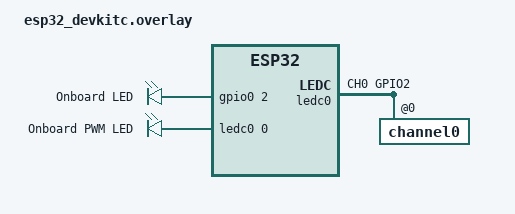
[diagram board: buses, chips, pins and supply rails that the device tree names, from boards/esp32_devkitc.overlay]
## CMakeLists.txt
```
cmake_minimum_required(VERSION 3.20.0)

list(APPEND ZEPHYR_EXTRA_MODULES ${CMAKE_CURRENT_SOURCE_DIR}/..)

find_package(Zephyr REQUIRED HINTS $ENV{ZEPHYR_BASE})
project(led_sensor_app)

target_sources(app PRIVATE src/main.c)
```

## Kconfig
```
config APP_HEARTBEAT_PERIOD_MS
	int "Heartbeat LED blink period (ms)"
	range 100 2000
	default 500
	help
	  Sleep duration in milliseconds between heartbeat LED toggles.

source "Kconfig.zephyr"
```

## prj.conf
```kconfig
CONFIG_GPIO=y
CONFIG_SENSOR=y
CONFIG_LED_SENSOR=y
CONFIG_SHELL=y
CONFIG_LOG=y
```

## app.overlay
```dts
/ {
	led_sensor: led_sensor {
		compatible = "custom,led-sensor";
		gpios = <&gpio0 2 GPIO_ACTIVE_HIGH>;
		status = "okay";
	};
};
```

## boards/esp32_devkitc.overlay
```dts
/ {
    leds {
        compatible = "gpio-leds";
        led0: led_0 {
            gpios = <&gpio0 2 GPIO_ACTIVE_HIGH>;
            label = "Onboard LED";
        };
    };

    pwmleds {
        compatible = "pwm-leds";
        pwm_led0: pwm_led_0 {
            label = "Onboard PWM LED";
            /* Channel 0, 20ms (50Hz), normal polarity */
            pwms = <&ledc0 0 20000000 PWM_POLARITY_NORMAL>;
        };
    };

    aliases {
        led0 = &led0;
        pwm-led0 = &pwm_led0;
    };
};

/* Enable the ESP32 LEDC (PWM) controller */
&ledc0 {
    status = "okay";
    pinctrl-0 = <&ledc0_default>;
    pinctrl-names = "default";
    #address-cells = <1>;
    #size-cells = <0>;

    channel0@0 {
        reg = <0>;
        timer = <0>;
    };
};

/* Link PWM Channel 0 to GPIO 2 */
&pinctrl {
    ledc0_default: ledc0_default {
        group1 {
            pinmux = <LEDC_CH0_GPIO2>;
            output-enable;
        };
    };
};
```

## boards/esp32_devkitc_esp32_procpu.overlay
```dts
/* SPDX-License-Identifier: Apache-2.0 */

/ {
	aliases {
		led0 = &led0;
	};

	  leds {
   		compatible = "gpio-leds";
		
   		led0: led_0 {
   			gpios = <&gpio0 2 GPIO_ACTIVE_LOW>;
        };
   	};
};
```

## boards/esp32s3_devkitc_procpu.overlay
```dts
/ {
    aliases {
        led0 = &led_0;
    };
    leds {
        compatible = "gpio-leds";
        led_0: led_0 {
            gpios = <&gpio0 2 GPIO_ACTIVE_HIGH>;
            label = "User LED";
        };
    };
};
```

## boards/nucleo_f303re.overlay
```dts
/ {
    pwmleds {
        compatible = "pwm-leds";
        pwm_led_pa5: pwm_led_pa5 {
            pwms = <&pwm2 1 PWM_MSEC(20) PWM_POLARITY_NORMAL>;
            label = "PWM_LED";
        };
    };

    aliases {
        pwm-led0 = &pwm_led_pa5;
    };    
};

&timers2 {
    status = "okay";
    pwm2: pwm {
        status = "okay";
        pinctrl-0 = <&tim2_ch1_pa5>;
        pinctrl-names = "default";
    };
};
```

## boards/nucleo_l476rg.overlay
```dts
/ {
    led_sensor_0: led_sensor {
        compatible = "iomico,led-sensor";
        gpios = <&gpioa 5 GPIO_ACTIVE_HIGH>;
        status = "okay";
    };
};
```

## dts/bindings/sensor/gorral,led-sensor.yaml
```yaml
description: Simple LED sensor used for Zephyr driver development homework

compatible: "gorral,led-sensor"

include: base.yaml

properties:
  led-gpios:
    type: phandle-array
    required: true
    description: GPIO connected to the LED controlled by this sensor driver.
```

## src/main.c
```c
#include <zephyr/kernel.h>
#include <zephyr/logging/log.h>

LOG_MODULE_REGISTER(sync_race, LOG_LEVEL_INF);

#define STACK_SIZE 1024
#define ITERATIONS 1000

static volatile int shared_counter = 0;

void worker_fn(void *p1, void *p2, void *p3)
{
	const char *name = (const char *)p1;

	for (int i = 0; i < ITERATIONS; i++) {
		int temp = shared_counter;
		k_busy_wait(1); /* Widens read-modify-write window */
		shared_counter = temp + 1;
	}

	LOG_INF("%s finished (current counter = %d)", name, shared_counter);
}

K_THREAD_DEFINE(thread_a, STACK_SIZE, worker_fn, "Thread A", NULL, NULL, 5, 0, 0);
K_THREAD_DEFINE(thread_b, STACK_SIZE, worker_fn, "Thread B", NULL, NULL, 5, 0, 0);

int main(void)
{
	k_thread_join(thread_a, K_FOREVER);
	k_thread_join(thread_b, K_FOREVER);

	LOG_INF("Expected: %d | Actual (UNPROTECTED): %d",
		ITERATIONS * 2, shared_counter);
	return 0;
}
```

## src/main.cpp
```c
#include <zephyr/drivers/gpio.h>
#include <zephyr/kernel.h>
#include <zephyr/logging/log.h>

#define SLEEP_TIME_MS 1000

/* The devicetree node identifier for the "led0" alias. */
#define LED_NODE DT_ALIAS(led0)

static const struct gpio_dt_spec led = GPIO_DT_SPEC_GET(LED_NODE, gpios);

LOG_MODULE_REGISTER(main, LOG_LEVEL_INF);

int main(void)
{
    printk("Hello World! %s\n", CONFIG_BOARD_TARGET);

    bool led_state = true;

    if (!gpio_is_ready_dt(&led)) return 0;

    if (gpio_pin_configure_dt(&led, GPIO_OUTPUT_ACTIVE) < 0) return 0;

    while (1) {
        if (gpio_pin_toggle_dt(&led) < 0) return 0;

        led_state = !led_state;
        LOG_INF("LED state: %s", led_state ? "ON" : "OFF");
        k_msleep(SLEEP_TIME_MS);
    }
    return 0;
}
```

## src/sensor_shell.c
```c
#include <zephyr/shell/shell.h>
#include <zephyr/drivers/sensor.h>
#include <zephyr/device.h>
#include <led_sensor/led_sensor.h>
#include <string.h>

static const struct device *get_led_sensor(void)
{
    return DEVICE_DT_GET_ANY(iomico_led_sensor);
}

/* --- fetch: enciende el LED --- */
static int cmd_sensor_fetch(const struct shell *sh, size_t argc, char **argv)
{
    const struct device *dev = get_led_sensor();

    if (!device_is_ready(dev)) {
        shell_error(sh, "Sensor no disponible");
        return -ENODEV;
    }

    int ret = sensor_sample_fetch(dev);
    if (ret) {
        shell_error(sh, "fetch failed: %d", ret);
        return ret;
    }

    shell_print(sh, "fetch OK - LED encendido");
    return 0;
}

/* --- read: apaga el LED e imprime resultado --- */
static int cmd_sensor_read(const struct shell *sh, size_t argc, char **argv)
{
    const struct device *dev = get_led_sensor();

    if (!device_is_ready(dev)) {
        shell_error(sh, "Sensor no disponible");
        return -ENODEV;
    }

    struct sensor_value val;
    int ret = sensor_channel_get(dev, SENSOR_CHAN_ALL, &val);
    if (ret) {
        shell_error(sh, "channel_get failed: %d", ret);
        return ret;
    }

    shell_print(sh, "read OK - LED apagado, val=%d.%06d", val.val1, val.val2);
    return 0;
}

/* --- info: imprime nombre y estado del device --- */
static int cmd_sensor_info(const struct shell *sh, size_t argc, char **argv)
{
    const struct device *dev = get_led_sensor();

    shell_print(sh, "Device name : %s", dev->name);
    shell_print(sh, "Device ready: %s", device_is_ready(dev) ? "YES" : "NO");
    return 0;
}

/* --- set <mensaje>: llama a la API custom --- */
static int cmd_sensor_set(const struct shell *sh, size_t argc, char **argv)
{
    const struct device *dev = get_led_sensor();

    if (!device_is_ready(dev)) {
        shell_error(sh, "Sensor no disponible");
        return -ENODEV;
    }

    /* argv[0] es "set", argv[1] es el mensaje */
    if (strlen(argv[1]) == 0) {
        shell_error(sh, "Error: el mensaje no puede estar vacio");
        return -EINVAL;
    }

    if (strlen(argv[1]) > 63) {
        shell_error(sh, "Error: mensaje demasiado largo (max 63 chars)");
        return -EINVAL;
    }

    led_sensor_set_message(dev, argv[1]);
    shell_print(sh, "Mensaje seteado: %s", argv[1]);
    return 0;
}

/* --- toggle <valor>: cambia toggle_count con validacion de rango --- */
static int cmd_sensor_toggle(const struct shell *sh, size_t argc, char **argv)
{
    const struct device *dev = get_led_sensor();

    if (!device_is_ready(dev)) {
        shell_error(sh, "Sensor no disponible");
        return -ENODEV;
    }

    int count = atoi(argv[1]);

    if (count < 0 || count > 20) {
        shell_error(sh, "Error: valor fuera de rango (0-20), recibido: %d", count);
        return -EINVAL;
    }

    led_sensor_set_toggle_count(dev, count);
    shell_print(sh, "toggle_count seteado a %d", count);
    return 0;
}

/* --- registro de subcomandos y root command --- */
SHELL_STATIC_SUBCMD_SET_CREATE(sub_sensor,
    SHELL_CMD(fetch, NULL, "Fetch sensor sample (LED ON)", cmd_sensor_fetch),
    SHELL_CMD(read,  NULL, "Read sensor channel (LED OFF)", cmd_sensor_read),
    SHELL_CMD(info,  NULL, "Print device info", cmd_sensor_info),
    SHELL_CMD_ARG(set,    NULL, "Set display message <msg>", cmd_sensor_set, 2, 0),
    SHELL_CMD_ARG(toggle, NULL, "Set toggle count <0-20>", cmd_sensor_toggle, 2, 0),
    SHELL_SUBCMD_SET_END
);

SHELL_CMD_REGISTER(sensor, &sub_sensor, "LED sensor commands", NULL);
```
